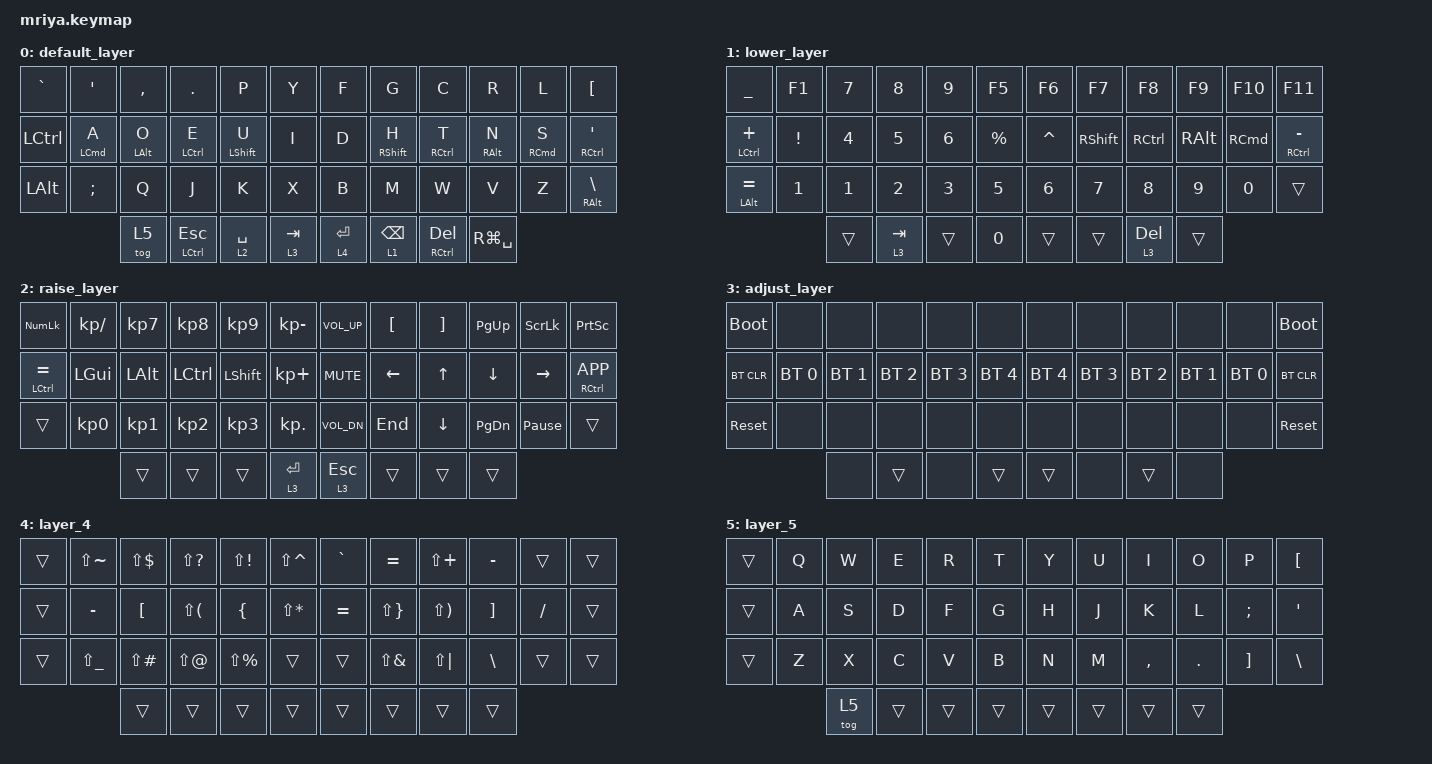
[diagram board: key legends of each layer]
/*
 * Copyright (c) 2023 Andrei Gaevskii
 *
 * SPDX-License-Identifier: MIT
 */

#include <behaviors.dtsi>
#include <dt-bindings/zmk/bt.h>
#include <dt-bindings/zmk/keys.h>

#define DEF 0
#define LWR 1
#define RSE 2
#define ADJ 3

&lt { quick_tap_ms = <200>; };

&mt {
    quick_tap_ms = <200>;
    flavor = "tap-preferred";
};

/ {
    keymap {
        compatible = "zmk,keymap";

        default_layer {
            bindings = <
  &kp GRAVE  &kp SQT             &kp COMMA       &kp PERIOD     &kp P             &kp Y        &kp F      &kp G              &kp C          &kp R            &kp L                &kp LBKT
  &kp LCTRL  &mt LEFT_COMMAND A  &mt LEFT_ALT O  &mt LCTRL E    &mt LEFT_SHIFT U  &kp I        &kp D      &mt RIGHT_SHIFT H  &mt RCTRL T    &mt RIGHT_ALT N  &mt RIGHT_COMMAND S  &mt RCTRL SQT
  &kp LALT   &kp SEMICOLON       &kp Q           &kp J          &kp K             &kp X        &kp B      &kp M              &kp W          &kp V            &kp Z                &mt RALT BSLH
                                 &tog 5          &mt LCTRL ESC  &lt 2 SPACE       &lt 3 TAB    &lt 4 RET  &lt 1 BACKSPACE    &mt RCTRL DEL  &kp RG(SPACE)
            >;
        };

        lower_layer {
            bindings = <
  &kp UNDER       &kp F1    &kp N7  &kp N8     &kp N9  &kp F5       &kp F6     &kp F7           &kp F8             &kp F9         &kp F10   &kp F11
  &mt LCTRL PLUS  &kp EXCL  &kp N4  &kp N5     &kp N6  &kp PRCNT    &kp CARET  &kp RIGHT_SHIFT  &kp RIGHT_CONTROL  &kp RIGHT_ALT  &kp RCMD  &mt RCTRL MINUS
  &mt LALT EQUAL  &kp N1    &kp N1  &kp N2     &kp N3  &kp N5       &kp N6     &kp N7           &kp N8             &kp N9         &kp N0    &trans
                            &trans  &lt 3 TAB  &trans  &kp N0       &trans     &trans           &lt 3 DEL          &trans
            >;
        };

        raise_layer {
            bindings = <
  &kp KP_NUM       &kp KP_SLASH  &kp KP_N7  &kp KP_N8  &kp KP_N9  &kp KP_MINUS    &kp C_VOL_UP  &kp LEFT_BRACKET  &kp RIGHT_BRACKET  &kp PG_UP  &kp SLCK         &kp PRINTSCREEN
  &mt LCTRL EQUAL  &kp LGUI      &kp LALT   &kp LCTRL  &kp LSHFT  &kp KP_PLUS     &kp C_MUTE    &kp LEFT          &kp UP             &kp DOWN   &kp RIGHT        &mt RCTRL K_APP
  &trans           &kp KP_N0     &kp KP_N1  &kp KP_N2  &kp KP_N3  &kp KP_DOT      &kp C_VOL_DN  &kp END           &kp DOWN           &kp PG_DN  &kp PAUSE_BREAK  &trans
                                 &trans     &trans     &trans     &lt 3 RET       &lt 3 ESC     &trans            &trans             &trans
            >;
        };

        adjust_layer {
            bindings = <
  &bootloader  &none         &none         &none         &none         &none           &none         &none         &none         &none         &none         &bootloader
  &bt BT_CLR   &bt BT_SEL 0  &bt BT_SEL 1  &bt BT_SEL 2  &bt BT_SEL 3  &bt BT_SEL 4    &bt BT_SEL 4  &bt BT_SEL 3  &bt BT_SEL 2  &bt BT_SEL 1  &bt BT_SEL 0  &bt BT_CLR
  &sys_reset   &none         &none         &none         &none         &none           &none         &none         &none         &none         &none         &sys_reset
                             &none         &trans        &none         &trans          &trans        &none         &trans        &none
            >;
        };

        layer_4 {
            bindings = <
  &trans  &kp LS(TILDE)  &kp LS(DLLR)   &kp LS(QMARK)  &kp LS(EXCL)    &kp LS(CARET)    &kp GRAVE  &kp EQUAL     &kp LS(PLUS)  &kp MINUS  &trans    &trans
  &trans  &kp MINUS      &kp LBKT       &kp LS(LPAR)   &kp LEFT_BRACE  &kp LS(STAR)     &kp EQUAL  &kp LS(RBRC)  &kp LS(RPAR)  &kp RBKT   &kp FSLH  &trans
  &trans  &kp LS(UNDER)  &kp LS(POUND)  &kp LS(AT)     &kp LS(PRCNT)   &trans           &trans     &kp LS(AMPS)  &kp LS(PIPE)  &kp BSLH   &trans    &trans
                         &trans         &trans         &trans          &trans           &trans     &trans        &trans        &trans
            >;
        };

        layer_5 {
            bindings = <
  &trans  &kp Q  &kp W   &kp E   &kp R   &kp T     &kp Y   &kp U   &kp I      &kp O    &kp P              &kp LBKT
  &trans  &kp A  &kp S   &kp D   &kp F   &kp G     &kp H   &kp J   &kp K      &kp L    &kp SEMI           &kp SQT
  &trans  &kp Z  &kp X   &kp C   &kp V   &kp B     &kp N   &kp M   &kp COMMA  &kp DOT  &kp RIGHT_BRACKET  &kp BSLH
                 &tog 5  &trans  &trans  &trans    &trans  &trans  &trans     &trans
            >;
        };
    };
};
